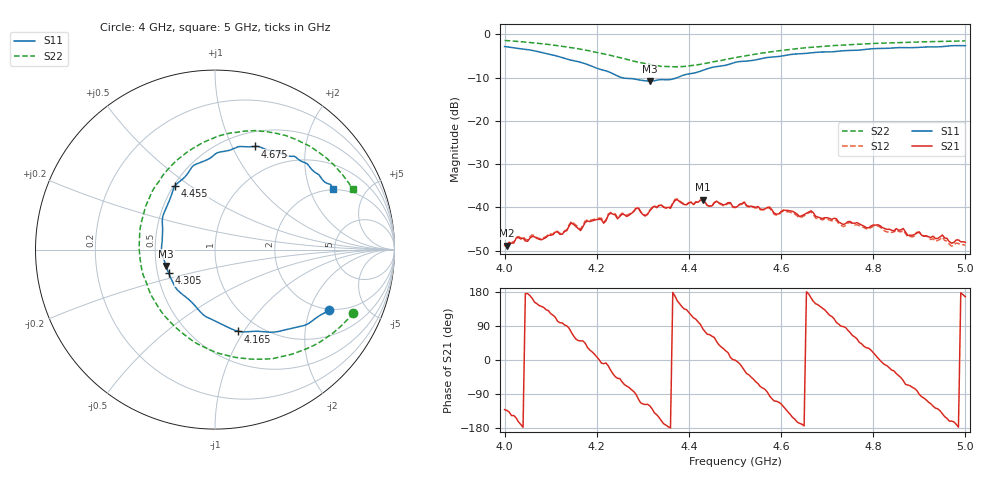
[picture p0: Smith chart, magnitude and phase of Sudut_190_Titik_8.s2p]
# Hz S RI R 50
! CMT, C1220, 16058040, 17.2.0/1
! Date: 15/08/2018 11:42:42
! Data: Format (Calibration Info)
! Freq  S11: Re/Im (F2)  S21: Re/Im (F2)  S12: Re/Im (F2)  S22: Re/Im (F2)
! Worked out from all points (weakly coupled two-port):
!   201 points, 4 GHz to 5 GHz, reference 50 ohm
!   highest |S21| = -38.22 dB at 4.43 GHz (marker M1); lowest = -48.9 dB at 4.005 GHz (marker M2)
!   lowest |S11| = -10.8 dB at 4.315 GHz (marker M3), VSWR 1.81, Z = 28.2 - j5.61 ohm
!   |S11| at or under -10 dB: 4.254 GHz to 4.375 GHz (121.7 MHz wide, 2.82 % of centre)
!   |S22| runs from -7.5 to -1.4 dB; largest |S21 - S12| = 0.00041
!   S11 on the Smith chart (normalised r, x): 4 GHz: 1.97, -2.75; 4.165 GHz: 0.80, -0.95; 4.305 GHz: 0.57, -0.17; 4.455 GHz: 0.51, +0.44; 4.675 GHz: 0.66, +1.23; 5 GHz: 1.97, +2.91
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4e9  0.6375 -0.3362  -0.00237 -0.00273  -0.00229 -0.00296  0.7708 -0.3526
4.005e9  0.6287 -0.3425  -0.00246 -0.00262  -0.00243 -0.00283  0.7622 -0.3639
4.03e9  0.5718 -0.3751  -0.00429 -0.00131  -0.00435 -0.00148  0.7118 -0.4166
4.125e9  0.2797 -0.4581  -0.00066 0.00484  -0.000802 0.0049  0.4373 -0.5798
4.145e9  0.2066 -0.4558  0.00196 0.00633  0.00173 0.00663  0.3619 -0.5976
4.165e9  0.1309 -0.4558  0.00344 0.00415  0.00349 0.00434  0.2831 -0.6099
4.17e9  0.1149 -0.4511  0.00382 0.00461  0.00382 0.00489  0.2625 -0.6106
4.23e9  -0.077 -0.3519  0.00763 -0.00386  0.00781 -0.00387  -0.00189 -0.5702
4.245e9  -0.1143 -0.3093  0.0049 -0.0055  0.00508 -0.00562  -0.065 -0.5413
4.29e9  -0.2345 -0.1834  -0.00207 -0.00963  -0.0021 -0.00977  -0.2462 -0.4059
4.305e9  -0.2578 -0.1323  -0.00366 -0.00704  -0.00372 -0.00718  -0.2953 -0.351
4.315e9  -0.2723 -0.0913  -0.00468 -0.00781  -0.0048 -0.00793  -0.3241 -0.3074
4.335e9  -0.2967 -0.0254  -0.00918 -0.00501  -0.00926 -0.00509  -0.3716 -0.2155
4.43e9  -0.2471 0.2919  0.00159 0.0122  0.0018 0.012  -0.3853 0.2434
4.455e9  -0.2229 0.3547  0.00576 0.00977  0.00596 0.00957  -0.3389 0.3439
4.5e9  -0.1328 0.4533  0.01 -4.06e-05  0.00993 -5.11e-05  -0.2241 0.4867
4.52e9  -0.1031 0.477  0.0103 -0.00517  0.0101 -0.00522  -0.1675 0.5334
4.59e9  0.0522 0.5474  -0.0027 -0.00789  -0.00272 -0.00764  0.0404 0.6382
4.67e9  0.2162 0.5738  -0.00784 0.00368  -0.00743 0.00368  0.2601 0.6589
4.675e9  0.2241 0.5747  -0.00673 0.00411  -0.00639 0.00398  0.2726 0.659
4.835e9  0.4836 0.4909  0.00521 -0.00199  0.00493 -0.00178  0.5868 0.5355
5e9  0.6563 0.3363  -0.00384 0.000894  -0.00357 0.000681  0.7666 0.337
